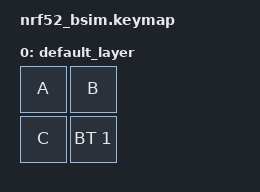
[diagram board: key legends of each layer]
#include <behaviors.dtsi>
#include <dt-bindings/zmk/bt.h>
#include <dt-bindings/zmk/keys.h>
#include <dt-bindings/zmk/kscan_mock.h>

/*
 * Each event's delay is the time until the next one. A is pressed at 5 s
 * and goes to host A (d_02, profile 0). BT_SEL 1 at 10.2 s; host B (d_03)
 * bonds to profile 1 and gets B at 12.2 s. C goes down at 13.0 s, and host A
 * writes "select me" at about 13.5 s, while C is still held.
 *
 * C is released at 13.8 s: the switch waits for it, so C goes entirely to
 * host B, and the final A (15.3 s) goes to host A.
 */
&kscan {
    events =
    <ZMK_MOCK_PRESS(0,0,5000)
    ZMK_MOCK_RELEASE(0,0,200)
    ZMK_MOCK_PRESS(1,1,10)
    ZMK_MOCK_RELEASE(1,1,2000)
    ZMK_MOCK_PRESS(0,1,500)
    ZMK_MOCK_RELEASE(0,1,300)
    ZMK_MOCK_PRESS(1,0,800)
    ZMK_MOCK_RELEASE(1,0,1500)
    ZMK_MOCK_PRESS(0,0,200)
    ZMK_MOCK_RELEASE(0,0,200)>;
};

/ {
    keymap {
        compatible = "zmk,keymap";

        default_layer {
            bindings = <
            &kp A &kp B
            &kp C &bt BT_SEL 1>;
        };
    };
};
